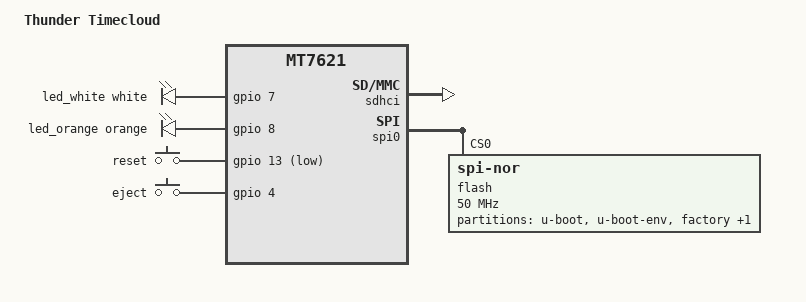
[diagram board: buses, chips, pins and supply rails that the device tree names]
#include "mt7621.dtsi"

#include <dt-bindings/gpio/gpio.h>
#include <dt-bindings/input/input.h>
#include <dt-bindings/leds/common.h>

/ {
	compatible = "thunder,timecloud", "mediatek,mt7621-soc";
	model = "Thunder Timecloud";

	aliases {
		led-boot = &led_orange;
		led-failsafe = &led_orange;
		led-running = &led_white;
		led-upgrade = &led_orange;
		label-mac-device = &gmac0;
	};

	chosen {
		bootargs = "console=ttyS0,115200";
	};

	leds {
		compatible = "gpio-leds";

		led_white: white {
			function = LED_FUNCTION_STATUS;
			color = <LED_COLOR_ID_WHITE>;
			gpios = <&gpio 7 GPIO_ACTIVE_HIGH>;
		};

		led_orange: orange {
			function = LED_FUNCTION_STATUS;
			color = <LED_COLOR_ID_ORANGE>;
			gpios = <&gpio 8 GPIO_ACTIVE_HIGH>;
		};
	};

	keys {
		compatible = "gpio-keys";

		reset {
			label = "reset";
			gpios = <&gpio 13 GPIO_ACTIVE_LOW>;
			linux,code = <KEY_RESTART>;
		};

		eject {
			label = "eject";
			gpios = <&gpio 4 GPIO_ACTIVE_HIGH>;
			linux,code = <KEY_EJECTCD>;
		};
	};
};

&sdhci {
	status = "okay";
};

&spi0 {
	status = "okay";

	flash@0 {
		compatible = "jedec,spi-nor";
		reg = <0>;
		spi-max-frequency = <50000000>;
		m25p,fast-read;

		partitions {
			compatible = "fixed-partitions";
			#address-cells = <1>;
			#size-cells = <1>;

			partition@0 {
				label = "u-boot";
				reg = <0x0 0x30000>;
				read-only;
			};

			partition@30000 {
				label = "u-boot-env";
				reg = <0x30000 0x10000>;
				read-only;
			};

			partition@40000 {
				label = "factory";
				reg = <0x40000 0x10000>;
				read-only;

				nvmem-layout {
					compatible = "fixed-layout";
					#address-cells = <1>;
					#size-cells = <1>;

					macaddr_factory_e000: macaddr@e000 {
						reg = <0xe000 0x6>;
					};
				};
			};

			partition@50000 {
				compatible = "denx,uimage";
				label = "firmware";
				reg = <0x50000 0xfb0000>;
			};
		};
	};
};

&gmac0 {
	nvmem-cells = <&macaddr_factory_e000>;
	nvmem-cell-names = "mac-address";
};

&switch0 {
	ports {
		port@4 {
			status = "okay";
			label = "lan";
		};
	};
};

&state_default {
	gpio {
		groups = "i2c", "uart2", "uart3", "jtag";
		function = "gpio";
	};
};
